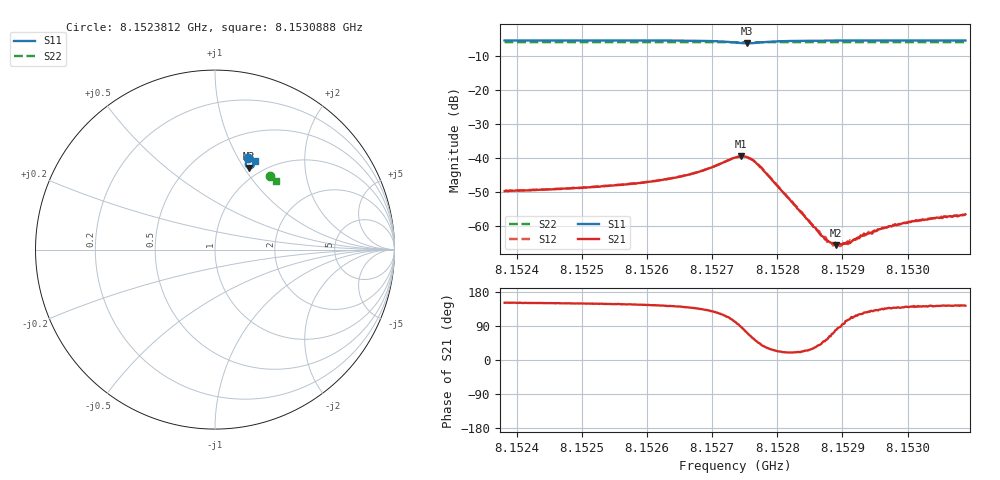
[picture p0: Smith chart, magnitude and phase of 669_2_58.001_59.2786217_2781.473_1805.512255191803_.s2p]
#  HZ  S  RI  R  50.00
! Rohde & Schwarz Vector Network Analyzer
! Rohde-Schwarz,ZNB20-2Port,1311601062101988,3.16
! Created: UTC 3/21/2024, 1:20:17 AM
! freq[Hz]  re:S11  im:S11  re:S21  im:S21  re:S12  im:S12  re:S22  im:S22
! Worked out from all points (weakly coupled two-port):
!   401 points, 8.1523812 GHz to 8.1530888 GHz, reference 50 ohm
!   highest |S21| = -39.43 dB at 8.1527439 GHz (marker M1); lowest = -65.7 dB at 8.1528907 GHz (marker M2)
!   lowest |S11| = -6.2 dB at 8.1527527 GHz (marker M3), VSWR 2.93, Z = 43.8 + j52.4 ohm
!   |S11| at or under -10 dB: nowhere
!   |S22| runs from -5.9 to -5.8 dB; largest |S21 - S12| = 0.00027
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8.15238125e9  0.183 0.5088  -0.00286 0.00159  -0.00285 0.00161  0.3059 0.4102
8.15249976e9  0.1925 0.505  -0.00314 0.00189  -0.00315 0.00193  0.3119 0.4052
8.15258466e9  0.2006 0.5013  -0.00355 0.00239  -0.00353 0.00246  0.3163 0.4018
8.15261827e9  0.2044 0.4989  -0.00381 0.00278  -0.00382 0.00288  0.3177 0.4004
8.15267841e9  0.213 0.4904  -0.0045 0.00438  -0.00445 0.00445  0.3208 0.3976
8.15273501e9  0.2099 0.4593  -0.00188 0.01  -0.00186 0.0101  0.3229 0.3942
8.15274386e9  0.2002 0.4538  0.000356 0.0107  0.000395 0.0107  0.3228 0.3938
8.1527527e9  0.1873 0.4541  0.00294 0.00998  0.00307 0.01  0.3227 0.3936
8.15276331e9  0.1752 0.4633  0.00509 0.00772  0.00514 0.00769  0.3231 0.3937
8.15277393e9  0.1713 0.4755  0.00543 0.00496  0.00561 0.005  0.3235 0.3939
8.15285352e9  0.1946 0.4998  0.0009 0.000517  0.000928 0.000515  0.3283 0.3912
8.15286944e9  0.1976 0.4999  0.000487 0.000519  0.000535 0.000482  0.3293 0.3907
8.15287652e9  0.1987 0.4998  0.000359 0.000499  0.000348 0.000469  0.3296 0.3903
8.15288359e9  0.1998 0.4998  0.000205 0.00052  0.000221 0.000543  0.33 0.39
8.15289067e9  0.2008 0.4996  9.32e-05 0.000512  0.000115 0.000516  0.3302 0.3896
8.15289774e9  0.2018 0.4996  1.07e-05 0.000545  2.64e-05 0.000513  0.3307 0.3893
8.15291013e9  0.2035 0.4993  -0.000164 0.000542  -0.000149 0.000546  0.3313 0.3887
8.15293135e9  0.206 0.4988  -0.000389 0.000616  -0.000399 0.000634  0.3324 0.3879
8.15295788e9  0.2087 0.498  -0.000622 0.000659  -0.000623 0.000689  0.3337 0.3867
8.15297204e9  0.2102 0.4977  -0.000737 0.000677  -0.000718 0.000683  0.3342 0.3861
8.15301095e9  0.2138 0.4966  -0.000914 0.000766  -0.000925 0.00075  0.3361 0.3845
8.15308878e9  0.2201 0.4943  -0.0012 0.000892  -0.00119 0.000913  0.34 0.3812
